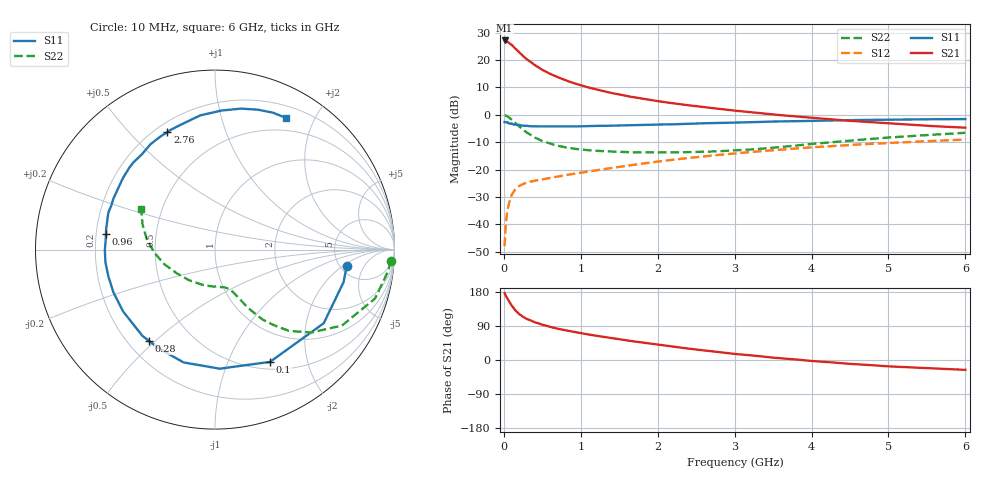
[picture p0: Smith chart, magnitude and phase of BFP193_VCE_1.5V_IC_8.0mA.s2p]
! Infineon Technologies  Discrete & RF Semiconductors
! BFP193
! VCE = 1.5 V,  IC =  8.0 mA
! Common Emitter S-Parameters:  Jan 2016
# GHz  S  MA  R  50
!  f  S11  S21  S12  S22
! GHz  MAG  ANG  MAG  ANG  MAG  ANG  MAG  ANG
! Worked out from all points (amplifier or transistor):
!   210 points, 10 MHz to 6 GHz, reference 50 ohm
!   highest |S21| = 27.1 dB at 10 MHz (marker M1)
!   |S21| within 3 dB of that: start of sweep to 151 MHz
!   unconditionally stable (mu >= 1): 1.045 GHz to 3.812 GHz
!   at 185 MHz: K = 0.28, MSG = 24.8 dB, |S12| = -26.4 dB
!   at 1.52 GHz: K = 1.10, MAG = 11.2 dB, |S12| = -18.9 dB
!   at 6 GHz: K = 0.93, MSG = 2.2 dB, |S12| = -9.1 dB
!   S11 on the Smith chart (normalised r, x): 10 MHz: 5.67, -2.34; 100 MHz: 0.59, -1.43; 280 MHz: 0.28, -0.48; 960 MHz: 0.24, +0.07; 2.76 GHz: 0.25, +0.65; 6 GHz: 0.34, +1.63
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0.01  0.739 -7.3  22.68 176.8  0.004 88.8  0.9801 -3.6
0.02  0.7389 -14.2  22.26 171.5  0.0078 82.0  0.9732 -6.9
0.05  0.7317 -34.1  21.43 160.3  0.0191 74.5  0.9325 -17.0
0.1  0.6966 -63.9  18.94 144.0  0.0341 61.4  0.8243 -30.9
0.15  0.6641 -87.7  16.11 130.5  0.0437 52.3  0.7084 -40.7
0.2  0.6525 -105.6  13.81 121.2  0.05 46.6  0.6115 -47.7
0.24  0.6343 -116.7  12.16 115.4  0.0536 43.1  0.547 -51.3
0.28  0.6276 -125.8  10.85 110.5  0.0565 41.1  0.4959 -54.2
0.3  0.628 -130.1  10.26 108.1  0.0579 40.3  0.4727 -55.7
0.4  0.6172 -146.0  8.101 99.7  0.0627 38.1  0.3852 -59.8
0.5  0.6139 -157.2  6.597 93.1  0.0662 38.1  0.3314 -62.3
0.6  0.6126 -165.8  5.594 87.5  0.0702 38.5  0.2974 -64.1
0.7  0.6145 -173.5  4.853 82.5  0.0744 39.1  0.2722 -65.7
0.96  0.6138 171.9  3.59 72.5  0.0856 41.7  0.2357 -69.7
1.02  0.6175 168.8  3.387 70.2  0.0881 42.2  0.2309 -70.8
1.4  0.6334 153.2  2.492 57.9  0.1065 44.0  0.214 -78.8
2.02  0.6653 132.6  1.758 40.2  0.141 43.9  0.2048 -96.2
2.76  0.7075 112.0  1.3 21.7  0.1831 39.9  0.2148 -122.0
3.1  0.7238 104.3  1.153 14.3  0.2028 37.2  0.2274 -134.5
4.1  0.7789 85.8  0.859 -3.9  0.2595 27.9  0.3013 -166.8
5.1  0.8174 71.7  0.684 -17.6  0.3101 17.3  0.3917 169.1
6  0.8339 61.5  0.581 -26.0  0.3523 7.4  0.4686 151.5
